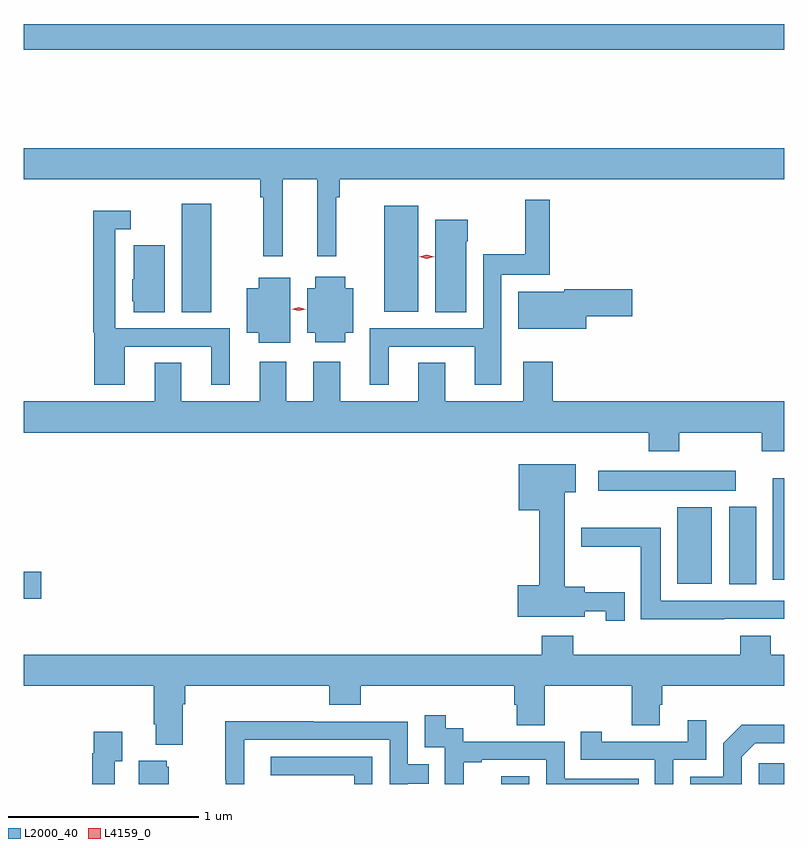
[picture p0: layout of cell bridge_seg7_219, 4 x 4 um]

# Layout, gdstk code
import gdstk
lib = gdstk.Library(unit=1e-6, precision=1e-09)
def R(c, l, rs):  # rectangles x0, y0, x1, y1
    for r in rs: c.add(gdstk.rectangle(r[:2], r[2:], *l))
def P(c, l, *ps):  # polygons
    for p in ps: c.add(gdstk.Polygon(p, *l))
L2000_40 = (2000, 40)
L4159_0 = (4159, 0)

bridge_seg7_219 = lib.new_cell('bridge_seg7_219')
R(bridge_seg7_219, L2000_40, [(277.377,1014.752,277.524,1014.793), (278.73,1014.752,278.865,1014.862), (274.865,1015.726,274.957,1015.868), (278.576,1015.801,278.716,1016.209), (278.303,1015.805,278.482,1016.206), (278.804,1015.827,278.865,1016.359), (277.887,1016.294,278.608,1016.398), (275.696,1017.232,275.851,1017.802), (276.761,1017.236,276.94,1017.793), (274.865,1018.612,278.865,1018.748)])
P(bridge_seg7_219, L2000_40, [(276.227,1017.932),(276.41,1017.932),(276.41,1017.528),(276.51,1017.528),(276.51,1017.836),(276.527,1017.836),(276.527,1017.932),(278.865,1017.932),(278.865,1018.096),(274.865,1018.096),(274.865,1017.932),(276.109,1017.932),(276.109,1017.836),(276.124,1017.836),(276.124,1017.528),(276.227,1017.528)],
  [(276.784,1017.051),(277.238,1017.051),(277.238,1016.85),(277.377,1016.85),(277.377,1017.429),(277.631,1017.429),(277.631,1017.823),(277.503,1017.823),(277.503,1017.538),(277.281,1017.538),(277.281,1017.147),(276.686,1017.147),(276.686,1016.85),(276.784,1016.85)],
  [(275.398,1017.051),(275.852,1017.051),(275.852,1016.85),(275.95,1016.85),(275.95,1017.147),(275.346,1017.147),(275.346,1017.669),(275.428,1017.669),(275.428,1017.766),(275.23,1017.766),(275.23,1017.126),(275.237,1017.126),(275.237,1016.85),(275.398,1016.85)],
  [(277.192,1017.605),(277.2,1017.605),(277.2,1017.718),(277.028,1017.718),(277.028,1017.232),(277.192,1017.232)],
  [(275.608,1017.586),(275.444,1017.586),(275.444,1017.405),(275.435,1017.405),(275.435,1017.291),(275.444,1017.291),(275.444,1017.232),(275.608,1017.232)],
  [(276.556,1017.125),(276.598,1017.125),(276.598,1017.358),(276.556,1017.358),(276.556,1017.418),(276.398,1017.418),(276.398,1017.358),(276.356,1017.358),(276.356,1017.125),(276.398,1017.125),(276.398,1017.074),(276.556,1017.074)],
  [(276.268,1017.415),(276.101,1017.415),(276.101,1017.358),(276.038,1017.358),(276.038,1017.125),(276.101,1017.125),(276.101,1017.071),(276.268,1017.071)],
  [(277.822,1017.211),(278.065,1017.211),(278.065,1017.353),(277.708,1017.353),(277.708,1017.34),(277.466,1017.34),(277.466,1017.146),(277.822,1017.146)],
  [(278.313,1016.6),(278.746,1016.6),(278.746,1016.501),(278.865,1016.501),(278.865,1016.764),(277.646,1016.764),(277.646,1016.971),(277.493,1016.971),(277.493,1016.764),(277.081,1016.764),(277.081,1016.966),(276.941,1016.966),(276.941,1016.764),(276.529,1016.764),(276.529,1016.971),(276.389,1016.971),(276.389,1016.764),(276.247,1016.764),(276.247,1016.971),(276.107,1016.971),(276.107,1016.764),(275.695,1016.764),(275.695,1016.966),(275.555,1016.966),(275.555,1016.764),(274.865,1016.764),(274.865,1016.6),(278.153,1016.6),(278.153,1016.501),(278.313,1016.501)],
  [(278.026,1015.761),(277.816,1015.761),(277.816,1015.789),(277.711,1015.789),(277.711,1016.285),(277.768,1016.285),(277.768,1016.434),(277.469,1016.434),(277.469,1016.192),(277.577,1016.192),(277.577,1015.797),(277.464,1015.797),(277.464,1015.631),(277.816,1015.631),(277.816,1015.66),(277.926,1015.66),(277.926,1015.611),(278.026,1015.611)],
  [(278.549,1015.62),(278.865,1015.62),(278.865,1015.716),(278.215,1015.716),(278.215,1016.099),(277.796,1016.099),(277.796,1016),(277.903,1016),(277.903,1015.999),(278.111,1015.999),(278.111,1015.619),(278.549,1015.619)],
  [(275.701,1015.172),(275.714,1015.172),(275.714,1015.268),(276.473,1015.268),(276.473,1015.169),(276.638,1015.169),(276.638,1015.268),(277.445,1015.268),(277.445,1015.17),(277.457,1015.17),(277.457,1015.06),(277.605,1015.06),(277.605,1015.268),(278.062,1015.268),(278.062,1015.06),(278.209,1015.06),(278.209,1015.17),(278.222,1015.17),(278.222,1015.268),(278.865,1015.268),(278.865,1015.432),(278.793,1015.432),(278.793,1015.531),(278.633,1015.531),(278.633,1015.432),(277.754,1015.432),(277.754,1015.531),(277.589,1015.531),(277.589,1015.432),(274.865,1015.432),(274.865,1015.268),(275.549,1015.268),(275.549,1015.066),(275.561,1015.066),(275.561,1014.959),(275.701,1014.959)],
  [(277.178,1014.867),(277.273,1014.867),(277.273,1014.879),(277.614,1014.879),(277.614,1014.752),(278.099,1014.752),(278.099,1014.78),(277.71,1014.78),(277.71,1014.975),(277.176,1014.975),(277.176,1015.044),(277.084,1015.044),(277.084,1015.114),(276.975,1015.114),(276.975,1014.945),(277.08,1014.945),(277.08,1014.752),(277.178,1014.752)],
  [(278.28,1014.879),(278.454,1014.879),(278.454,1015.087),(278.357,1015.087),(278.357,1014.975),(277.906,1014.975),(277.906,1015.027),(277.795,1015.027),(277.795,1014.879),(278.184,1014.879),(278.184,1014.752),(278.28,1014.752)],
  [(276.025,1014.984),(276.789,1014.984),(276.789,1014.752),(276.885,1014.752),(276.885,1014.754),(276.995,1014.754),(276.995,1014.855),(276.885,1014.855),(276.885,1015.08),(276.389,1015.08),(276.389,1015.082),(275.926,1015.082),(275.926,1014.775),(275.928,1014.775),(275.928,1014.752),(276.025,1014.752)],
  [(278.64,1014.894),(278.712,1014.966),(278.865,1014.966),(278.865,1015.064),(278.642,1015.064),(278.544,1014.966),(278.544,1014.789),(278.37,1014.789),(278.37,1014.752),(278.64,1014.752)],
  [(275.343,1014.871),(275.383,1014.871),(275.383,1015.027),(275.235,1015.027),(275.235,1014.914),(275.227,1014.914),(275.227,1014.752),(275.343,1014.752)],
  [(276.699,1014.894),(276.165,1014.894),(276.165,1014.798),(276.603,1014.798),(276.603,1014.752),(276.699,1014.752)],
  [(275.629,1014.843),(275.618,1014.843),(275.618,1014.874),(275.471,1014.874),(275.471,1014.752),(275.629,1014.752)])
P(bridge_seg7_219, L4159_0, [(276.311,1017.239),(276.274,1017.249),(276.274,1017.249),(276.274,1017.249),(276.311,1017.259),(276.349,1017.249),(276.349,1017.249),(276.349,1017.249)],
  [(276.984,1017.514),(276.944,1017.524),(276.944,1017.524),(276.944,1017.524),(276.984,1017.534),(277.024,1017.523),(277.024,1017.523),(277.024,1017.523)])

lib.write_gds('bridge_seg7_219.gds')
